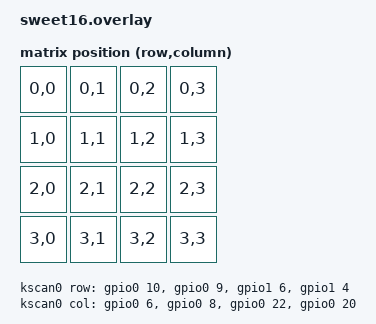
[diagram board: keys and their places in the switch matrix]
#include <dt-bindings/zmk/matrix_transform.h>
#include <physical_layouts.dtsi>

/ {
    chosen {
        zmk,kscan = &kscan0;
        zmk,physical-layout = &physical_layout0;
    };

    kscan0: kscan {
        compatible = "zmk,kscan-gpio-matrix";
        diode-direction = "col2row";
        wakeup-source;

        /*
         * Official Sweet16 V1 QMK matrix converted from Pro Micro pins:
         * cols: D1, D0, D4, C6 => P0.06, P0.08, P0.22, P0.20
         * rows: F4, F5, F6, F7 => P0.10, P0.09, P1.06, P1.04
         */
        col-gpios
            = <&gpio0 6 GPIO_ACTIVE_HIGH>
            , <&gpio0 8 GPIO_ACTIVE_HIGH>
            , <&gpio0 22 GPIO_ACTIVE_HIGH>
            , <&gpio0 20 GPIO_ACTIVE_HIGH>
            ;

        row-gpios
            = <&gpio0 10 (GPIO_ACTIVE_HIGH | GPIO_PULL_DOWN)>
            , <&gpio0 9 (GPIO_ACTIVE_HIGH | GPIO_PULL_DOWN)>
            , <&gpio1 6 (GPIO_ACTIVE_HIGH | GPIO_PULL_DOWN)>
            , <&gpio1 4 (GPIO_ACTIVE_HIGH | GPIO_PULL_DOWN)>
            ;
    };

    default_transform: keymap_transform0 {
        compatible = "zmk,matrix-transform";
        columns = <4>;
        rows = <4>;
        map = <
            RC(0,0) RC(0,1) RC(0,2) RC(0,3)
            RC(1,0) RC(1,1) RC(1,2) RC(1,3)
            RC(2,0) RC(2,1) RC(2,2) RC(2,3)
            RC(3,0) RC(3,1) RC(3,2) RC(3,3)
        >;
    };

    physical_layout0: physical_layout_0 {
        compatible = "zmk,physical-layout";
        display-name = "Default Layout";
        kscan = <&kscan0>;
        transform = <&default_transform>;
        keys
            = <&key_physical_attrs 100 100   0   0 0 0 0>
            , <&key_physical_attrs 100 100 100   0 0 0 0>
            , <&key_physical_attrs 100 100 200   0 0 0 0>
            , <&key_physical_attrs 100 100 300   0 0 0 0>
            , <&key_physical_attrs 100 100   0 100 0 0 0>
            , <&key_physical_attrs 100 100 100 100 0 0 0>
            , <&key_physical_attrs 100 100 200 100 0 0 0>
            , <&key_physical_attrs 100 100 300 100 0 0 0>
            , <&key_physical_attrs 100 100   0 200 0 0 0>
            , <&key_physical_attrs 100 100 100 200 0 0 0>
            , <&key_physical_attrs 100 100 200 200 0 0 0>
            , <&key_physical_attrs 100 100 300 200 0 0 0>
            , <&key_physical_attrs 100 100   0 300 0 0 0>
            , <&key_physical_attrs 100 100 100 300 0 0 0>
            , <&key_physical_attrs 100 100 200 300 0 0 0>
            , <&key_physical_attrs 100 100 300 300 0 0 0>
            ;
    };
};
